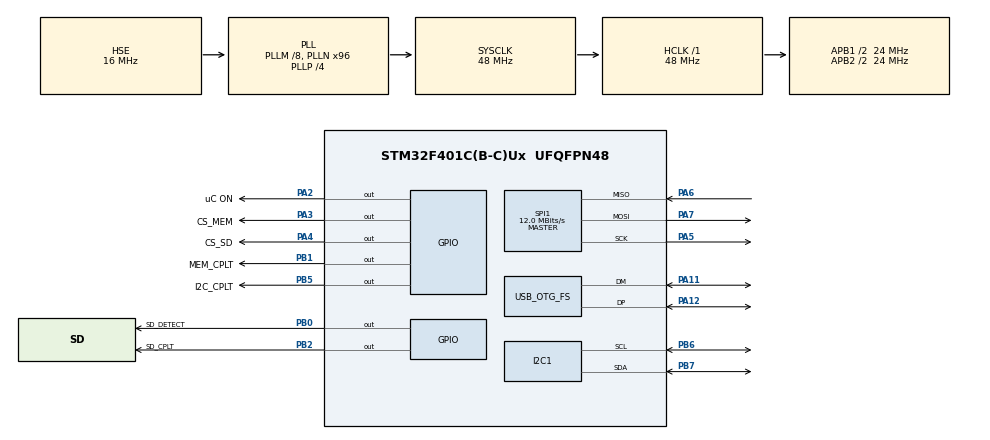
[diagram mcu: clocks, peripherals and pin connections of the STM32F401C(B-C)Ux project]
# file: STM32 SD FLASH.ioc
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FATFS._MAX_SS=4096
FATFS._USE_LFN=1
Mcu.Family=STM32F4
Mcu.Name=STM32F401C(B-C)Ux
Mcu.Package=UFQFPN48
NVIC.OTG_FS_IRQn=true\:0\:0\:false\:false\:true\:false\:true\:true
NVIC.PriorityGroup=NVIC_PRIORITYGROUP_4
PA11.Mode=Device_Only
PA11.Signal=USB_OTG_FS_DM
PA12.Mode=Device_Only
PA12.Signal=USB_OTG_FS_DP
PA13.Mode=Serial_Wire
PA13.Signal=SYS_JTMS-SWDIO
PA14.Mode=Serial_Wire
PA14.Signal=SYS_JTCK-SWCLK
PA2.GPIO_Label=uC ON
PA2.Signal=GPIO_Output
PA3.GPIO_Label=CS_MEM
PA3.Signal=GPIO_Output
PA4.GPIO_Label=CS_SD
PA4.Signal=GPIO_Output
PA5.Mode=Full_Duplex_Master
PA5.Signal=SPI1_SCK
PA6.Mode=Full_Duplex_Master
PA6.Signal=SPI1_MISO
PA7.Mode=Full_Duplex_Master
PA7.Signal=SPI1_MOSI
PB0.GPIO_Label=SD_DETECT
PB0.Signal=GPIO_Output
PB1.GPIO_Label=MEM_CPLT
PB1.Signal=GPIO_Output
PB2.GPIO_Label=SD_CPLT
PB2.Signal=GPIO_Output
PB5.GPIO_Label=I2C_CPLT
PB5.Signal=GPIO_Output
PB6.Mode=I2C
PB6.Signal=I2C1_SCL
PB7.Mode=I2C
PB7.Signal=I2C1_SDA
PH0\ -\ OSC_IN.Mode=HSE-External-Oscillator
PH0\ -\ OSC_IN.Signal=RCC_OSC_IN
PH1\ -\ OSC_OUT.Mode=HSE-External-Oscillator
PH1\ -\ OSC_OUT.Signal=RCC_OSC_OUT
ProjectManager.HeapSize=0x200
ProjectManager.StackSize=0x400
ProjectManager.TargetToolchain=STM32CubeIDE
RCC.48MHZClocksFreq_Value=48000000
RCC.AHBFreq_Value=48000000
RCC.APB1CLKDivider=RCC_HCLK_DIV2
RCC.APB1Freq_Value=24000000
RCC.APB1TimFreq_Value=48000000
RCC.APB2CLKDivider=RCC_HCLK_DIV2
RCC.APB2Freq_Value=24000000
RCC.APB2TimFreq_Value=48000000
RCC.CortexFreq_Value=48000000
RCC.HCLKFreq_Value=48000000
RCC.HSE_VALUE=16000000
RCC.HSI_VALUE=16000000
RCC.LSE_VALUE=32768
RCC.PLLM=8
RCC.PLLN=96
RCC.PLLP=RCC_PLLP_DIV4
RCC.SYSCLKFreq_VALUE=48000000
RCC.SYSCLKSource=RCC_SYSCLKSOURCE_PLLCLK
RCC.VCOOutputFreq_Value=192000000
SPI1.BaudRatePrescaler=SPI_BAUDRATEPRESCALER_2
SPI1.CLKPolarity=SPI_POLARITY_LOW
SPI1.CalculateBaudRate=12.0 MBits/s
SPI1.Direction=SPI_DIRECTION_2LINES
SPI1.Mode=SPI_MODE_MASTER
SPI1.VirtualType=VM_MASTER
TIM1.Period=0xffff-1
TIM1.Prescaler=84-1
TIM2.Period=0xffff-1
TIM2.Prescaler=84-1
USB_DEVICE.CLASS_NAME_FS=MSC
USB_DEVICE.VirtualMode=Msc
USB_DEVICE.VirtualModeFS=Msc_FS
USB_OTG_FS.VirtualMode=Device_Only
VP_FATFS_VS_Generic.Mode=User_defined
VP_TIM1_VS_ClockSourceINT.Mode=Internal
VP_TIM2_VS_ClockSourceINT.Mode=Internal
VP_USB_DEVICE_VS_USB_DEVICE_MSC_FS.Mode=MSC_FS
board=custom

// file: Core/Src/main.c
/* USER CODE BEGIN Header */
/**
  ******************************************************************************
  * @file           : main.c
  * @brief          : Main program body
  ******************************************************************************
  * @attention
  *
  * Copyright (c) 2023 STMicroelectronics.
  * All rights reserved.
  *
  * This software is licensed under terms that can be found in the LICENSE file
  * in the root directory of this software component.
  * If no LICENSE file comes with this software, it is provided AS-IS.
  *
  ******************************************************************************
  */
/* USER CODE END Header */
#include "main.h"
#include "fatfs.h"
#include "usb_device.h"

/* USER CODE BEGIN Includes */
#include "SST25VF010A.h"
#include "LIS3DHTR.h"
#include "fatfs_sd.h"
#include "string.h"
#include "math.h"
/* USER CODE END Includes */

/* USER CODE BEGIN PD */
#define LIS3DH_I2C_ADDR 0b0011000 //(SA0 connected to GND)
#define I2C_LED GPIO_PIN_5
#define MEM_LED GPIO_PIN_1
#define SD_LED GPIO_PIN_2
#define CS_MEM GPIO_PIN_3
#define CS_SD GPIO_PIN_4
#define DETECT GPIO_PIN_0

#define X_PAGE 0x000000 //(32kB) Use pre-determined blocks from datasheet in order to be able to use block_erase instruction
#define Y_PAGE 0x008000 //(32kB)
#define Z_PAGE 0x010000 //(32kB)
#define t_PAGE 0x018000 //(32kB)

/* USER CODE END PD */

I2C_HandleTypeDef hi2c1;

SPI_HandleTypeDef hspi1;

TIM_HandleTypeDef htim1;
TIM_HandleTypeDef htim2;

/* USER CODE BEGIN PV */
uint8_t buffer[64];
uint8_t rec_cplt;
/* USER CODE END PV */

void SystemClock_Config(void);
static void MX_GPIO_Init(void);
static void MX_I2C1_Init(void);
static void MX_SPI1_Init(void);
static void MX_TIM1_Init(void);
static void MX_TIM2_Init(void);

/* USER CODE BEGIN 0 */
FATFS fs;
FIL fil;
FRESULT fres;
uint8_t bw;
float t_last=0;
uint8_t card_pres=0;

void Array_test(void){

	uint32_t value=0x00FF00CC;

	uint8_t var8bit[4];

	var8bit[0]=value;
	var8bit[1]=value>>8;
	var8bit[2]=value>>16;
	var8bit[3]=value>>24;

	CDC_Transmit_FS(&var8bit[0], 1);
	HAL_Delay(200);
	CDC_Transmit_FS(&var8bit[1], 1);
	HAL_Delay(200);
	CDC_Transmit_FS(&var8bit[2], 1);
	HAL_Delay(200);
	CDC_Transmit_FS(&var8bit[3], 1);
	HAL_Delay(200);

}

void float_8bit(float value, uint8_t* data){
	int16_t a=value*100;
	data[0]=a;
	data[1]=a>>8;

}

float bit8_to_float(uint8_t* data){
	int16_t a = ((uint16_t)data[1]<<8)|data[0];
	return(((float)a)/100);
}

void write_seq(uint32_t x_addr,uint32_t y_addr, uint32_t z_addr,uint32_t t_addr){

	float ACC[3];
	float t;
	uint8_t x_acc[2];
	uint8_t y_acc[2];
	uint8_t z_acc[2];
	uint8_t t_8bit[2];
	char mess[100];

	ACC_R(ACC);
	t_last+=((float)__HAL_TIM_GET_COUNTER(&htim2))*(0.000001);
	__HAL_TIM_SET_COUNTER(&htim2,0);
	float_8bit(ACC[0], x_acc);
	float_8bit(ACC[1], y_acc);
	float_8bit(ACC[2], z_acc);
	float_8bit(t_last, t_8bit);
	MEM_AAI_W(x_addr, 2, x_acc);
	MEM_AAI_W(y_addr, 2, y_acc);
	MEM_AAI_W(z_addr, 2, z_acc);
	MEM_AAI_W(t_addr, 2, t_8bit);
	sprintf(mess,"Writing %.2f, %.2f,  %.2f, %.2f at address 0x%X\r\n",ACC[0],ACC[1],ACC[2],t_last,x_addr);
	//CDC_Transmit_FS(mess, strlen(mess));
}

/*Function to read acceleration data from flash memory
 *
 *Parameters:
 *	x_addr(uint32_t):24 bit address from within X_PAGE to begin reading from
 *	y_addr(uint32_t):24 bit address from within Y_PAGE to begin reading from
 *	z_addr(uint32_t):24 bit address from within Z_PAGE to begin reading from
 *	t (float): Time in seconds since beginning read
 *
 * */

uint8_t read_seq(uint32_t x_addr,uint32_t y_addr, uint32_t z_addr,uint32_t t_addr){

	char mess[100];
	float x_f,y_f,z_f,t;
	uint8_t x_rec[2];
	uint8_t y_rec[2];
	uint8_t z_rec[2];
	uint8_t t_rec[2];

	MEM_R(x_addr, 2, x_rec);
	HAL_Delay(1);
	MEM_R(y_addr, 2, y_rec);
	HAL_Delay(1);
	MEM_R(z_addr, 2, z_rec);
	HAL_Delay(1);
	MEM_R(t_addr, 2, t_rec);
	HAL_Delay(1);
	x_f=bit8_to_float(x_rec);
	y_f=bit8_to_float(y_rec);
	z_f=bit8_to_float(z_rec);
	t=bit8_to_float(t_rec);
	if((int)(t*100)==-1){
		return(1);
	}
	sprintf(mess,"%.2f, %.2f, %.2f, %.2f \r\n",t,x_f,y_f,z_f);
	f_write(&fil, mess, strlen(mess), &bw);
	//CDC_Transmit_FS(mess, strlen(mess));
	return(0);
}

/* USER CODE END 0 */

int main(void)
{

  /* MCU Configuration--------------------------------------------------------*/

  /* Reset of all peripherals, Initializes the Flash interface and the Systick. */
  HAL_Init();

  /* Configure the system clock */
  SystemClock_Config();

  /* Initialize all configured peripherals */
  MX_GPIO_Init();
  MX_I2C1_Init();
  MX_SPI1_Init();
  MX_USB_DEVICE_Init();
  MX_FATFS_Init();
  MX_TIM1_Init();
  MX_TIM2_Init();
  /* USER CODE BEGIN 2 */
  HAL_GPIO_WritePin(GPIOA, GPIO_PIN_2, 1);
  HAL_TIM_Base_Start(&htim1); //used for delay() function
  HAL_TIM_Base_Start(&htim2); //used for timing acceleration measurements
  HAL_Delay(3000);
  HAL_GPIO_WritePin(GPIOA, CS_SD, 1);
  HAL_GPIO_WritePin(GPIOA, CS_MEM, 1);
  while(ACC_INIT()!=HAL_OK){
	  HAL_GPIO_WritePin(GPIOB, I2C_LED, 1);
	  HAL_Delay(100);
	  HAL_GPIO_WritePin(GPIOB, I2C_LED, 0);
	  HAL_Delay(100);
  }

  HAL_GPIO_WritePin(GPIOB, I2C_LED, 1);
  HAL_Delay(1000);
  HAL_GPIO_WritePin(GPIOB, I2C_LED, 0);
  HAL_Delay(1000);

  while(MEM_Status_W(0x00)!=HAL_OK){
	  HAL_GPIO_WritePin(GPIOB, MEM_LED, 1);
	  HAL_Delay(100);
	  HAL_GPIO_WritePin(GPIOB, MEM_LED, 0);
	  HAL_Delay(100);
  }

  HAL_GPIO_WritePin(GPIOB, MEM_LED, 1);
  HAL_Delay(1000);
  HAL_GPIO_WritePin(GPIOB, MEM_LED, 0);
  HAL_Delay(1000);

  if(HAL_GPIO_ReadPin(GPIOB, GPIO_PIN_0)!=1){
	 Page_Erase(X_PAGE); //25ms max
	 HAL_Delay(100);
	 Page_Erase(Y_PAGE); //25ms max
	 HAL_Delay(100);
	 Page_Erase(Z_PAGE); //25ms max
	 HAL_Delay(100);
	 Page_Erase(t_PAGE); //25ms max
	 HAL_Delay(100);
  }

  int i=0;
  /* USER CODE END 2 */

  /* Infinite loop */
  /* USER CODE BEGIN WHILE */
  while (1)
  {

	  HAL_TIM_Base_Start(&htim1);
	  HAL_TIM_Base_Start(&htim2);
	  if(HAL_GPIO_ReadPin(GPIOB, GPIO_PIN_0)==1){ //SD card can interrupt to retrieve whatever data has been written so far
		  card_pres=1;
		  HAL_Delay(1000);
		  int j=0;
		  float t=0;
		  f_mount(&fs, "", 0);
		  f_unlink("Acceleration.csv");
		  f_open(&fil, "Acceleration.csv", FA_OPEN_ALWAYS|FA_READ|FA_WRITE);
		  f_puts("t,x,y,z \r\n", &fil);
			  while(read_seq(X_PAGE+j, Y_PAGE+j, Z_PAGE+j, t_PAGE+j)!=1){
				  j+=2;
			  }
			  f_close(&fil);
			  while(HAL_GPIO_ReadPin(GPIOB, GPIO_PIN_0)==1){ //Hang until sd card is removed
				  HAL_GPIO_WritePin(GPIOB, SD_LED, 1);
			  }
			  HAL_GPIO_WritePin(GPIOB, SD_LED, 0);
			  card_pres=0;

	  }

	  else{
		  if(X_PAGE+i==0x1000){
			  HAL_GPIO_WritePin(GPIOB, MEM_LED, 1);
		  }
		  else{
			  write_seq(X_PAGE+i, Y_PAGE+i, Z_PAGE+i,t_PAGE+i);
			  i+=2;
		  }

	  }

    /* USER CODE END WHILE */

  }
}

void SystemClock_Config(void)
{
  RCC_OscInitTypeDef RCC_OscInitStruct = {0};
  RCC_ClkInitTypeDef RCC_ClkInitStruct = {0};

  /** Configure the main internal regulator output voltage
  */
  __HAL_RCC_PWR_CLK_ENABLE();
  __HAL_PWR_VOLTAGESCALING_CONFIG(PWR_REGULATOR_VOLTAGE_SCALE2);

  /** Initializes the RCC Oscillators according to the specified parameters
  * in the RCC_OscInitTypeDef structure.
  */
  RCC_OscInitStruct.OscillatorType = RCC_OSCILLATORTYPE_HSE;
  RCC_OscInitStruct.HSEState = RCC_HSE_ON;
  RCC_OscInitStruct.PLL.PLLState = RCC_PLL_ON;
  RCC_OscInitStruct.PLL.PLLSource = RCC_PLLSOURCE_HSE;
  RCC_OscInitStruct.PLL.PLLM = 8;
  RCC_OscInitStruct.PLL.PLLN = 96;
  RCC_OscInitStruct.PLL.PLLP = RCC_PLLP_DIV4;
  RCC_OscInitStruct.PLL.PLLQ = 4;
  if (HAL_RCC_OscConfig(&RCC_OscInitStruct) != HAL_OK)
  {
    Error_Handler();
  }

  /** Initializes the CPU, AHB and APB buses clocks
  */
  RCC_ClkInitStruct.ClockType = RCC_CLOCKTYPE_HCLK|RCC_CLOCKTYPE_SYSCLK
                              |RCC_CLOCKTYPE_PCLK1|RCC_CLOCKTYPE_PCLK2;
  RCC_ClkInitStruct.SYSCLKSource = RCC_SYSCLKSOURCE_PLLCLK;
  RCC_ClkInitStruct.AHBCLKDivider = RCC_SYSCLK_DIV1;
  RCC_ClkInitStruct.APB1CLKDivider = RCC_HCLK_DIV2;
  RCC_ClkInitStruct.APB2CLKDivider = RCC_HCLK_DIV2;

  if (HAL_RCC_ClockConfig(&RCC_ClkInitStruct, FLASH_LATENCY_1) != HAL_OK)
  {
    Error_Handler();
  }
}

static void MX_I2C1_Init(void)
{

  hi2c1.Instance = I2C1;
  hi2c1.Init.ClockSpeed = 100000;
  hi2c1.Init.DutyCycle = I2C_DUTYCYCLE_2;
  hi2c1.Init.OwnAddress1 = 0;
  hi2c1.Init.AddressingMode = I2C_ADDRESSINGMODE_7BIT;
  hi2c1.Init.DualAddressMode = I2C_DUALADDRESS_DISABLE;
  hi2c1.Init.OwnAddress2 = 0;
  hi2c1.Init.GeneralCallMode = I2C_GENERALCALL_DISABLE;
  hi2c1.Init.NoStretchMode = I2C_NOSTRETCH_DISABLE;
  if (HAL_I2C_Init(&hi2c1) != HAL_OK)
  {
    Error_Handler();
  }

}

static void MX_SPI1_Init(void)
{

  /* SPI1 parameter configuration*/
  hspi1.Instance = SPI1;
  hspi1.Init.Mode = SPI_MODE_MASTER;
  hspi1.Init.Direction = SPI_DIRECTION_2LINES;
  hspi1.Init.DataSize = SPI_DATASIZE_8BIT;
  hspi1.Init.CLKPolarity = SPI_POLARITY_LOW;
  hspi1.Init.CLKPhase = SPI_PHASE_1EDGE;
  hspi1.Init.NSS = SPI_NSS_SOFT;
  hspi1.Init.BaudRatePrescaler = SPI_BAUDRATEPRESCALER_2;
  hspi1.Init.FirstBit = SPI_FIRSTBIT_MSB;
  hspi1.Init.TIMode = SPI_TIMODE_DISABLE;
  hspi1.Init.CRCCalculation = SPI_CRCCALCULATION_DISABLE;
  hspi1.Init.CRCPolynomial = 10;
  if (HAL_SPI_Init(&hspi1) != HAL_OK)
  {
    Error_Handler();
  }

}

static void MX_TIM1_Init(void)
{

  TIM_ClockConfigTypeDef sClockSourceConfig = {0};
  TIM_MasterConfigTypeDef sMasterConfig = {0};

  htim1.Instance = TIM1;
  htim1.Init.Prescaler = 84-1;
  htim1.Init.CounterMode = TIM_COUNTERMODE_UP;
  htim1.Init.Period = 0xffff-1;
  htim1.Init.ClockDivision = TIM_CLOCKDIVISION_DIV1;
  htim1.Init.RepetitionCounter = 0;
  htim1.Init.AutoReloadPreload = TIM_AUTORELOAD_PRELOAD_DISABLE;
  if (HAL_TIM_Base_Init(&htim1) != HAL_OK)
  {
    Error_Handler();
  }
  sClockSourceConfig.ClockSource = TIM_CLOCKSOURCE_INTERNAL;
  if (HAL_TIM_ConfigClockSource(&htim1, &sClockSourceConfig) != HAL_OK)
  {
    Error_Handler();
  }
  sMasterConfig.MasterOutputTrigger = TIM_TRGO_RESET;
  sMasterConfig.MasterSlaveMode = TIM_MASTERSLAVEMODE_DISABLE;
  if (HAL_TIMEx_MasterConfigSynchronization(&htim1, &sMasterConfig) != HAL_OK)
  {
    Error_Handler();
  }

}

static void MX_TIM2_Init(void)
{

  TIM_ClockConfigTypeDef sClockSourceConfig = {0};
  TIM_MasterConfigTypeDef sMasterConfig = {0};

  htim2.Instance = TIM2;
  htim2.Init.Prescaler = 84-1;
  htim2.Init.CounterMode = TIM_COUNTERMODE_UP;
  htim2.Init.Period = 0xffff-1;
  htim2.Init.ClockDivision = TIM_CLOCKDIVISION_DIV1;
  htim2.Init.AutoReloadPreload = TIM_AUTORELOAD_PRELOAD_DISABLE;
  if (HAL_TIM_Base_Init(&htim2) != HAL_OK)
  {
    Error_Handler();
  }
  sClockSourceConfig.ClockSource = TIM_CLOCKSOURCE_INTERNAL;
  if (HAL_TIM_ConfigClockSource(&htim2, &sClockSourceConfig) != HAL_OK)
  {
    Error_Handler();
  }
  sMasterConfig.MasterOutputTrigger = TIM_TRGO_RESET;
  sMasterConfig.MasterSlaveMode = TIM_MASTERSLAVEMODE_DISABLE;
  if (HAL_TIMEx_MasterConfigSynchronization(&htim2, &sMasterConfig) != HAL_OK)
  {
    Error_Handler();
  }

}

static void MX_GPIO_Init(void)
{
  GPIO_InitTypeDef GPIO_InitStruct = {0};

  /* GPIO Ports Clock Enable */
  __HAL_RCC_GPIOH_CLK_ENABLE();
  __HAL_RCC_GPIOA_CLK_ENABLE();
  __HAL_RCC_GPIOB_CLK_ENABLE();

  /*Configure GPIO pin Output Level */
  HAL_GPIO_WritePin(GPIOA, uC_ON_Pin|CS_MEM_Pin|CS_SD_Pin, GPIO_PIN_RESET);

  /*Configure GPIO pin Output Level */
  HAL_GPIO_WritePin(GPIOB, SD_DETECT_Pin|MEM_CPLT_Pin|SD_CPLT_Pin|I2C_CPLT_Pin, GPIO_PIN_RESET);

  /*Configure GPIO pins : uC_ON_Pin CS_MEM_Pin CS_SD_Pin */
  GPIO_InitStruct.Pin = uC_ON_Pin|CS_MEM_Pin|CS_SD_Pin;
  GPIO_InitStruct.Mode = GPIO_MODE_OUTPUT_PP;
  GPIO_InitStruct.Pull = GPIO_NOPULL;
  GPIO_InitStruct.Speed = GPIO_SPEED_FREQ_LOW;
  HAL_GPIO_Init(GPIOA, &GPIO_InitStruct);

  /*Configure GPIO pins : SD_DETECT_Pin MEM_CPLT_Pin SD_CPLT_Pin I2C_CPLT_Pin */
  GPIO_InitStruct.Pin = SD_DETECT_Pin|MEM_CPLT_Pin|SD_CPLT_Pin|I2C_CPLT_Pin;
  GPIO_InitStruct.Mode = GPIO_MODE_OUTPUT_PP;
  GPIO_InitStruct.Pull = GPIO_NOPULL;
  GPIO_InitStruct.Speed = GPIO_SPEED_FREQ_LOW;
  HAL_GPIO_Init(GPIOB, &GPIO_InitStruct);

}

void Error_Handler(void)
{
  __disable_irq();
  while (1)
  {
  }
}
